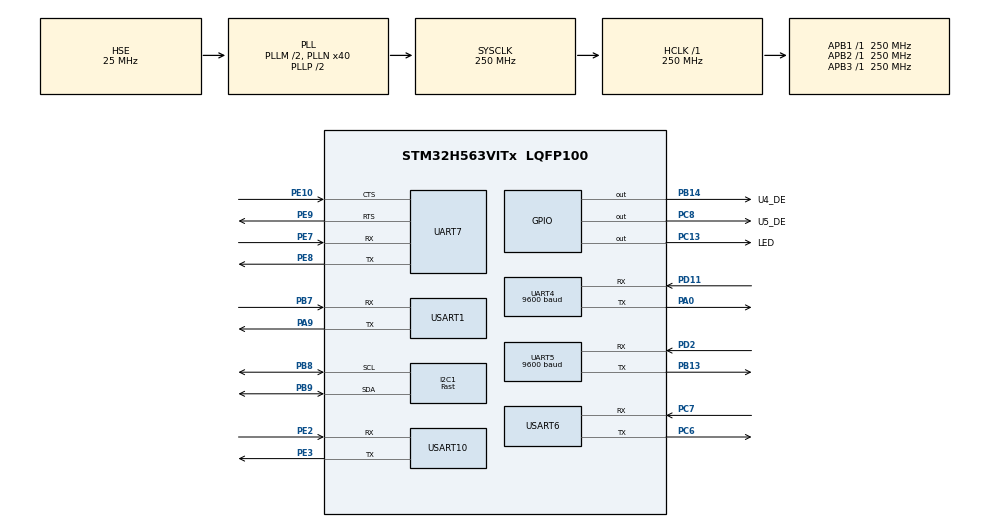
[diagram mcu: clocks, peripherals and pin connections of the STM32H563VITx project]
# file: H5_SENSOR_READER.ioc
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BOOTPATH.BootPathName=LEGACY
BOOTPATH.UserSelectedBootPath=LEGACY
CORTEX_M33_NS.userName=CORTEX_M33
I2C1.I2C_Speed_Mode=I2C_Fast
I2C1.Timing=0x10C043E5
Mcu.Family=STM32H5
Mcu.Name=STM32H563VITx
Mcu.Package=LQFP100
NVIC.PriorityGroup=NVIC_PRIORITYGROUP_4
NVIC.UART4_IRQn=true\:0\:0\:false\:false\:true\:true\:true\:true
NVIC.USART1_IRQn=true\:0\:0\:false\:false\:true\:true\:true\:true
PA0.Mode=Asynchronous
PA0.Signal=UART4_TX
PA9.Mode=Asynchronous
PA9.Signal=USART1_TX
PB13.Mode=Asynchronous
PB13.Signal=UART5_TX
PB14.GPIO_Label=U4_DE
PB14.Signal=GPIO_Output
PB7.Mode=Asynchronous
PB7.Signal=USART1_RX
PB8.Mode=I2C
PB8.Signal=I2C1_SCL
PB9.Mode=I2C
PB9.Signal=I2C1_SDA
PC13.GPIO_Label=LED
PC13.Signal=GPIO_Output
PC14-OSC32_IN(OSC32_IN).Mode=LSE-External-Oscillator
PC14-OSC32_IN(OSC32_IN).Signal=RCC_OSC32_IN
PC15-OSC32_OUT(OSC32_OUT).Mode=LSE-External-Oscillator
PC15-OSC32_OUT(OSC32_OUT).Signal=RCC_OSC32_OUT
PC6.Mode=Asynchronous
PC6.Signal=USART6_TX
PC7.Mode=Asynchronous
PC7.Signal=USART6_RX
PC8.GPIO_Label=U5_DE
PC8.Signal=GPIO_Output
PD11.Mode=Asynchronous
PD11.Signal=UART4_RX
PD2.Mode=Asynchronous
PD2.Signal=UART5_RX
PE10.Mode=CTS_RTS
PE10.Signal=UART7_CTS
PE2.Mode=Asynchronous
PE2.Signal=USART10_RX
PE3.Mode=Asynchronous
PE3.Signal=USART10_TX
PE7.Mode=Asynchronous
PE7.Signal=UART7_RX
PE8.Mode=Asynchronous
PE8.Signal=UART7_TX
PE9.Mode=CTS_RTS
PE9.Signal=UART7_RTS
PH0-OSC_IN(PH0).Mode=HSE-External-Oscillator
PH0-OSC_IN(PH0).Signal=RCC_OSC_IN
PH1-OSC_OUT(PH1).Mode=HSE-External-Oscillator
PH1-OSC_OUT(PH1).Signal=RCC_OSC_OUT
ProjectManager.HeapSize=0x200
ProjectManager.StackSize=0x400
ProjectManager.TargetToolchain=STM32CubeIDE
RCC.ADCFreq_Value=250000000
RCC.AHBFreq_Value=250000000
RCC.APB1Freq_Value=250000000
RCC.APB1TimFreq_Value=250000000
RCC.APB2Freq_Value=250000000
RCC.APB2TimFreq_Value=250000000
RCC.APB3Freq_Value=250000000
RCC.CSI_VALUE=4000000
RCC.CortexFreq_Value=250000000
RCC.EPOD_VALUE=25000000
RCC.HCLKFreq_Value=250000000
RCC.HSE_VALUE=25000000
RCC.HSI48_VALUE=48000000
RCC.HSI_VALUE=64000000
RCC.LSIRC_VALUE=32000
RCC.PLLM=2
RCC.PLLN=40
RCC.PLLSourceVirtual=RCC_PLL1_SOURCE_HSE
RCC.SYSCLKFreq_VALUE=250000000
RCC.SYSCLKSource=RCC_SYSCLKSOURCE_PLLCLK
RCC.USBFreq_Value=48000000
RCC.VCOOutputFreq_Value=500000000
UART4.BaudRate=9600
UART5.AutoBaudRateEnableParam=UART_ADVFEATURE_AUTOBAUDRATE_DISABLE
UART5.BaudRate=9600
UART5.ClockPrescaler=PRESCALER_DIV1
UART5.FIFOMode=FIFOMODE_DISABLE
UART5.MSBFirstParam=UART_ADVFEATURE_MSBFIRST_DISABLE
UART5.OneBitSampling=UART_ONE_BIT_SAMPLE_DISABLE
UART5.RxPinLevelInvertParam=UART_ADVFEATURE_RXINV_DISABLE
UART5.SwapParam=UART_ADVFEATURE_SWAP_DISABLE
UART5.TxPinLevelInvertParam=UART_ADVFEATURE_TXINV_DISABLE
USART1.VirtualMode-Asynchronous=VM_ASYNC
USART10.VirtualMode=VM_ASYNC
USART6.VirtualMode=VM_ASYNC
VP_BOOTPATH_VS_BOOTPATH.Mode=BP_Activate
VP_CORTEX_M33_NS_VS_Hclk.Mode=Hclk_Mode
VP_ICACHE_VS_ENABLE_ICACHE_MEMORY.Mode=Memoryregions
VP_ICACHE_VS_ICACHE.Mode=DirectMappedCache
VP_MEMORYMAP_VS_MEMORYMAP.Mode=CurAppReg
VP_PWR_VS_LPOM.Mode=PowerOptimisation
VP_PWR_VS_SECSignals.Mode=Security/Privilege
board=custom

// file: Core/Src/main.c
/* USER CODE BEGIN Header */
/**
 ******************************************************************************
 * @file           : main.c
 * @brief          : Main program body
 ******************************************************************************
 */
/**
 * @brief 해당 예제는, rs485 한 채널을 사용하여,
 *        두 센서와 통신하는 간단한 예제입니다.
 *        .ioc에서 설정할 값은 UART1(디버그용), UART4, UART5 등이 있으며,
 *        자세한 설정은 해당 예제 파일의 .ioc파일을 열어 확인 해주십시오.
 *
 * @note  이해를 돕기 위해,
 *        oled의 "ssd1306" 드라이버 파일을 제외하면,
 *        main.c파일에서만 작성이 되어 있습니다.
 */
/* USER CODE END Header */
#include "main.h"
#include "gpio.h"
#include "i2c.h"
#include "icache.h"
#include "usart.h"

/* USER CODE BEGIN Includes */
#include <stdbool.h>
#include <stdio.h>
#include <string.h>

#include "rain_sensor.h"
#include "ssd1306.h"
#include "wind_sensor.h"
/* USER CODE END Includes */

/* USER CODE BEGIN PD */

/**
 * @brief 디버깅용 printf 사용 여부
 */
#define USE_DEBUG_PRINTF    1

/**
 * @brief 해당 예제 사용 rs485 uart 채널
 */
#define USE_RS485_UART_CH_4 0
#define USE_RS485_UART_CH_5 1

/**
 * @brief rs485 송신 주기 (ms)
 */
#define RS485_TX_PERIOD     300

/**
 * @brief rs485 수신 타임아웃 (ms)
 */
#define RS485_RX_TIMEOUT    1000

/**
 * @brief oled 갱신 주기 (ms)
 */
#define OLED_UPDATE_PERIOD  100

/**
 * @brief 디버그 출력 주기 (ms)
 */
#define DEBUG_PRINT_PERIOD  500
/* USER CODE END PD */

/* USER CODE BEGIN PV */

/**
 * @brief 사용 uart ch에 따른 핀 정의
 */
#if USE_RS485_UART_CH_4
extern UART_HandleTypeDef huart4;
#define RS485_UART    huart4
#define RS485_DE_PORT U4_DE_GPIO_Port
#define RS485_DE_PIN  U4_DE_Pin
#endif

#if USE_RS485_UART_CH_5
extern UART_HandleTypeDef huart5;
#define RS485_UART    huart5
#define RS485_DE_PORT U5_DE_GPIO_Port
#define RS485_DE_PIN  U5_DE_Pin
#endif

#if USE_DEBUG_PRINTF
extern UART_HandleTypeDef huart1;
#endif

/**
 * @brief 센서 요청 / 응답 구조체
 */
wind_sensor_req_t  wind_sensor_req;
wind_sensor_resp_t wind_sensor_resp;

rain_sensor_req_t  rain_sensor_req;
rain_sensor_resp_t rain_sensor_resp;

/**
 * @brief 센서 측정 값
 */
float wind_speed = 0.0f;
float rain_speed = 0.0f;

/**
 * @brief 수신 버퍼
 */
uint8_t rx_buf[32];

/**
 * @brief req대상 센서 토글 플래그
 */
static bool is_rain_turn = false;

/* USER CODE END PV */

void SystemClock_Config(void);
/* USER CODE BEGIN PFP */
static uint16_t modbus_crc16(uint8_t *buf, int len);
static bool     sensorRequest(bool is_rain);
static void     sensorParse(bool is_rain);
static void     oledUpdate(void);

/* USER CODE END PFP */

/* USER CODE BEGIN 0 */

/**
 * @brief 센서 요청
 * @return true: 수신 성공, false: 타임아웃
 */
static bool sensorRequest(bool is_rain)
{
  uint8_t *p_req;
  uint16_t tx_size;
  uint16_t rx_size;

  // 현재 루프의 타겟 센서 확인 -> 대상 센서 포인터와 사이즈를 설정
  if (is_rain)
  {
    p_req  = (uint8_t *)&rain_sensor_req;
    tx_size = sizeof(rain_sensor_req_t);
    rx_size = sizeof(rain_sensor_resp_t);
  }
  else
  {
    p_req  = (uint8_t *)&wind_sensor_req;
    tx_size = sizeof(wind_sensor_req_t);
    rx_size = sizeof(wind_sensor_resp_t);
  }

  // DE 핀 HIGH -> 송신 모드로 전환
  HAL_GPIO_WritePin(RS485_DE_PORT, RS485_DE_PIN, GPIO_PIN_SET);
  HAL_UART_Transmit(&RS485_UART, p_req, tx_size, 100);

  // 마지막 바이트까지 물리적으로 전송 완료될 때까지 대기
  while (__HAL_UART_GET_FLAG(&RS485_UART, UART_FLAG_TC) == RESET);

  // DE 핀 LOW -> 수신 모드로 전환
  HAL_GPIO_WritePin(RS485_DE_PORT, RS485_DE_PIN, GPIO_PIN_RESET);

  // 직접 수신한다.
  uint16_t rx_index = 0;
  uint32_t pre_time  = HAL_GetTick();

  // 타임 아웃 경과시간 까지 while문 내에서 동작
  while (HAL_GetTick() - pre_time < RS485_RX_TIMEOUT)
  {
    // 수신 데이터 레지스터 내 플래그값이 "데이터 있음(USART_ISR_RXNE_RXFNE)" 이면 true
    if (RS485_UART.Instance->ISR & USART_ISR_RXNE_RXFNE)
    {
      // 한 바이트씩 read한다.
      rx_buf[rx_index++] = (uint8_t)RS485_UART.Instance->RDR;
      // 예상 응답 크기만큼 수신 완료 시 성공 리턴
      if (rx_index >= rx_size)
      {
        return true;
      }
    }
  }

  return false;
}

/**
 * @brief 수신 패킷 파싱
 */
static void sensorParse(bool is_rain)
{
  if (is_rain)
  {
    // rx_buf에 들어있는 수신 패킷을 resp 구조체에 담는다.
    memcpy(&rain_sensor_resp, rx_buf, sizeof(rain_sensor_resp));
    // crc를 계산한다.
    if (modbus_crc16((uint8_t *)&rain_sensor_resp, 5) == rain_sensor_resp.crc)
    {
      // big endian으로 변환한다.
      uint16_t raw = __builtin_bswap16(rain_sensor_resp.rain_val);
      // raw값으로 부터 실제 값을 추출한다.
      rain_speed   = raw * 0.1f;
    }
  }
  else
  {
    memcpy(&wind_sensor_resp, rx_buf, sizeof(wind_sensor_resp));

    if (modbus_crc16((uint8_t *)&wind_sensor_resp, 5) == wind_sensor_resp.crc)
    {
      uint16_t raw = __builtin_bswap16(wind_sensor_resp.wind_val);
      wind_speed   = raw * 0.1f;
    }
  }
}

/**
 * @brief OLED 갱신
 */
static void oledUpdate(void)
{
  char buf[32];

  // 전체 화면을 검정색으로 칠한다.
  ssd1306Fill(0x00);

  // 고정 문자열을 출력한다.
  ssd1306SetCursor(0, 0);
  sprintf(buf, "Rain:%5.1f mm/h", rain_speed);
  ssd1306WriteString(buf);

  ssd1306SetCursor(0, 16);
  sprintf(buf, "Wind:%5.1f m/s", wind_speed);
  ssd1306WriteString(buf);

  // i2c 전송
  ssd1306UpdateScreen();
}

/**
 * @brief Modbus CRC16
 */
static uint16_t modbus_crc16(uint8_t *buf, int len)
{
  uint16_t crc = 0xFFFF;

  for (int pos = 0; pos < len; pos++)
  {
    crc ^= (uint16_t)buf[pos];

    for (int i = 0; i < 8; i++)
    {
      if (crc & 0x0001)
      {
        crc >>= 1;
        crc  ^= 0xA001;
      }
      else
      {
        crc >>= 1;
      }
    }
  }

  return crc;
}

#if USE_DEBUG_PRINTF // printf를 사용하기 위한 uart1 래핑 함수
int _write(int file, char *ptr, int len)
{
  (void)file;
  HAL_UART_Transmit(&huart1, (uint8_t *)ptr, len, HAL_MAX_DELAY);
  return len;
}
#endif

/* USER CODE END 0 */

int main(void)
{
  HAL_Init();
  SystemClock_Config();

  MX_GPIO_Init();
  MX_USART1_UART_Init();
  MX_USART6_UART_Init();
  MX_USART10_UART_Init();
  MX_ICACHE_Init();
  MX_UART7_Init();
  MX_UART4_Init();
  MX_UART5_Init();
  MX_I2C1_Init();

  /* USER CODE BEGIN 2 */

  // 1). DE -> LOW (수신 모드)
  HAL_GPIO_WritePin(RS485_DE_PORT, RS485_DE_PIN, GPIO_PIN_RESET);

  // 2). 풍량 센서 구조체 초기화 및 crc 계산
  windSensorInit(&wind_sensor_req);
  wind_sensor_req.crc = modbus_crc16((uint8_t *)&wind_sensor_req, 6);

  // 3). 강우 센서 구조체 초기화 및 crc 계산
  rainSensorInit(&rain_sensor_req);
  rain_sensor_req.crc = modbus_crc16((uint8_t *)&rain_sensor_req, 6);

  // 4). oled 초기화
  ssd1306Init();

  /* USER CODE END 2 */

  while (1)
  {
    // rs485
    static uint32_t pre_time = 0;

    if (HAL_GetTick() - pre_time > RS485_TX_PERIOD)
    {
      pre_time = HAL_GetTick();

      // 센서에게 데이터 요청 (두 센서를 번갈아가며 요청하기 위해, 현재 차례에 대한 정보를 보낸다.)
      if (sensorRequest(is_rain_turn))
      {
        // 데이터 추출 후 전역 변수에 저장
        sensorParse(is_rain_turn);

#if USE_DEBUG_PRINTF // success 디버그 출력
        printf("ok [%s]\r\n", is_rain_turn ? "rain" : "wind");
#endif

      }
      else
      {

#if USE_DEBUG_PRINTF // timeout 디버그 출력
        printf("timeout [%s]\r\n", is_rain_turn ? "rain" : "wind");
#endif

      }

      // 토글 해준다.
      is_rain_turn = !is_rain_turn;
    }

    // oled
    static uint32_t oled_pre_time;
    if (HAL_GetTick() - oled_pre_time > OLED_UPDATE_PERIOD)
    {
      oled_pre_time = HAL_GetTick();
      oledUpdate();
    }

    // debug printf
#if USE_DEBUG_PRINTF
    static uint32_t debug_pre_time;
    if (HAL_GetTick() - debug_pre_time > DEBUG_PRINT_PERIOD)
    {
      debug_pre_time = HAL_GetTick();
      printf("wind: %.1f m/s | rain: %.1f mm/h\r\n", wind_speed, rain_speed);
    }
#endif
  }
}

void SystemClock_Config(void)
{
  RCC_OscInitTypeDef RCC_OscInitStruct = {0};
  RCC_ClkInitTypeDef RCC_ClkInitStruct = {0};

  __HAL_PWR_VOLTAGESCALING_CONFIG(PWR_REGULATOR_VOLTAGE_SCALE0);

  while (!__HAL_PWR_GET_FLAG(PWR_FLAG_VOSRDY))
  {
  }

  RCC_OscInitStruct.OscillatorType = RCC_OSCILLATORTYPE_HSE;
  RCC_OscInitStruct.HSEState       = RCC_HSE_ON;
  RCC_OscInitStruct.PLL.PLLState   = RCC_PLL_ON;
  RCC_OscInitStruct.PLL.PLLSource  = RCC_PLL1_SOURCE_HSE;
  RCC_OscInitStruct.PLL.PLLM       = 2;
  RCC_OscInitStruct.PLL.PLLN       = 40;
  RCC_OscInitStruct.PLL.PLLP       = 2;
  RCC_OscInitStruct.PLL.PLLQ       = 2;
  RCC_OscInitStruct.PLL.PLLR       = 2;
  RCC_OscInitStruct.PLL.PLLRGE     = RCC_PLL1_VCIRANGE_3;
  RCC_OscInitStruct.PLL.PLLVCOSEL  = RCC_PLL1_VCORANGE_WIDE;
  RCC_OscInitStruct.PLL.PLLFRACN   = 0;
  if (HAL_RCC_OscConfig(&RCC_OscInitStruct) != HAL_OK)
  {
    Error_Handler();
  }

  RCC_ClkInitStruct.ClockType      = RCC_CLOCKTYPE_HCLK | RCC_CLOCKTYPE_SYSCLK | RCC_CLOCKTYPE_PCLK1 | RCC_CLOCKTYPE_PCLK2 | RCC_CLOCKTYPE_PCLK3;
  RCC_ClkInitStruct.SYSCLKSource   = RCC_SYSCLKSOURCE_PLLCLK;
  RCC_ClkInitStruct.AHBCLKDivider  = RCC_SYSCLK_DIV1;
  RCC_ClkInitStruct.APB1CLKDivider = RCC_HCLK_DIV1;
  RCC_ClkInitStruct.APB2CLKDivider = RCC_HCLK_DIV1;
  RCC_ClkInitStruct.APB3CLKDivider = RCC_HCLK_DIV1;

  if (HAL_RCC_ClockConfig(&RCC_ClkInitStruct, FLASH_LATENCY_5) != HAL_OK)
  {
    Error_Handler();
  }

  __HAL_FLASH_SET_PROGRAM_DELAY(FLASH_PROGRAMMING_DELAY_2);
}

void Error_Handler(void)
{
  __disable_irq();
  while (1)
  {
  }
}
